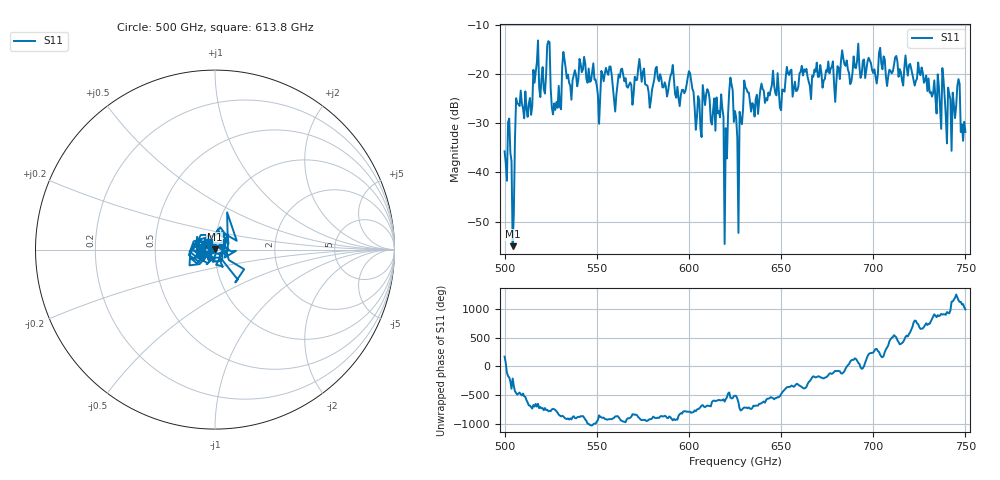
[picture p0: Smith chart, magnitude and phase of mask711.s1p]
!Created with skrf (http://scikit-rf.org).
# GHz S MA R 50.0
!freq magS11 angS11
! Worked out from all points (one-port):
!   401 points, 500 GHz to 750 GHz, reference 50 ohm
!   lowest |S11| = -55.0 dB at 504.4 GHz (marker M1), VSWR 1.00, Z = 49.8 + j0.0895 ohm
!   |S11| at or under -10 dB: start of sweep to end of sweep
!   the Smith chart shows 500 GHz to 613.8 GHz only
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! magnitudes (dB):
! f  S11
! 500 GHz  -35.7
! 502.5 GHz  -29.1
! 504.4 GHz  -55.0
! 507.5 GHz  -26.1
! 513.8 GHz  -24.9
! 516.9 GHz  -19.6
! 520.6 GHz  -18.6
! 523.8 GHz  -13.4
! 526.9 GHz  -26.0
! 531.2 GHz  -18.6
! 562.5 GHz  -20.7
! 593.8 GHz  -22.6
! 600 GHz  -19.5
! 605.6 GHz  -25.3
! 616.2 GHz  -27.6
! 620 GHz  -31.0
! 622.5 GHz  -20.8
! 625 GHz  -27.6
! 625.6 GHz  -28.9
! 627.5 GHz  -27.7
! 631.2 GHz  -23.1
! 634.4 GHz  -25.9
! 656.2 GHz  -24.6
! 687.5 GHz  -22.1
! 718.8 GHz  -20.4
! 741.2 GHz  -24.1
! 745.6 GHz  -22.5
! 750 GHz  -31.8
